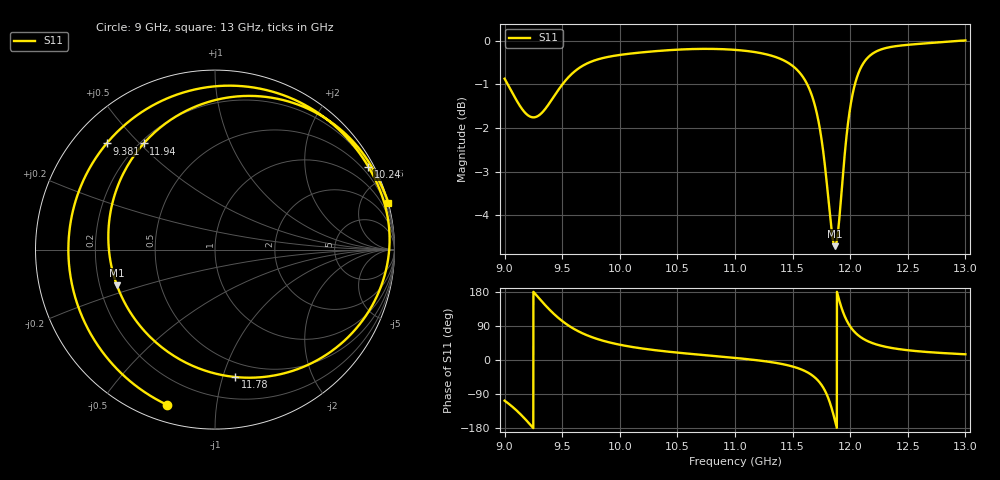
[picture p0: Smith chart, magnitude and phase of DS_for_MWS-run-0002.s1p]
! TOUCHSTONE file generated by CST DESIGN STUDIO
! Date and time: Wed Feb  5 13:40:26 2025
! Project name: C:\Work\MatlabApps\UnitCellOptimizationMatlab\CST\unitcell.cst
! Tree item: Tasks\Sweep1\SPara1\S-Parameters
! Header version: 2024
! Port assignment regex: !\s*Touchstone port\s*([0-9]+)\s*=\s*(CST MWS port|CST DES external port|CST DES block port)\s*(.+)\s* \(\"(.*)\"\)(\s*mode\s*([0-9]+))?.*
! Touchstone port assignment:
! Touchstone port 1 = CST DES external port 1 ("")
# GHz S MA R 50
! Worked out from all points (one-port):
!   4001 points, 9 GHz to 13 GHz, reference 50 ohm
!   lowest |S11| = -4.7 dB at 11.87 GHz (marker M1), VSWR 3.78, Z = 13.6 - j8.21 ohm
!   |S11| at or under -10 dB: nowhere
!   S11 on the Smith chart (normalised r, x): 9 GHz: 0.08, -0.73; 9.381 GHz: 0.10, +0.40; 10.24 GHz: 0.24, +3.94; 11.78 GHz: 0.37, -1.10; 11.94 GHz: 0.21, +0.51; 13 GHz: -0.03, +7.55
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9  0.9048 -107.3
9.104  0.8543 -133.2
9.216  0.8193 -168.4
9.296  0.821 163.9
9.381  0.8452 135.6
9.5  0.8907 102.9
9.595  0.9193 83.3
9.724  0.943 64.2
10  0.9634 40.3
10.242  0.9713 28.4
10.5  0.9769 19.5
11  0.9763 5.5
11.297  0.9631 -4.9
11.5  0.9359 -17.2
11.671  0.8627 -40.7
11.729  0.8032 -57.1
11.781  0.7184 -81.1
11.825  0.6293 -113.8
11.868  0.5815 -159.9
11.902  0.618 160.6
11.941  0.7125 123.9
11.969  0.7795 104.6
12  0.8384 88.5
12.076  0.9212 63.6
12.17  0.9613 47.3
12.301  0.9804 35.3
12.5  0.9894 25.8
13  1.001 15.1
